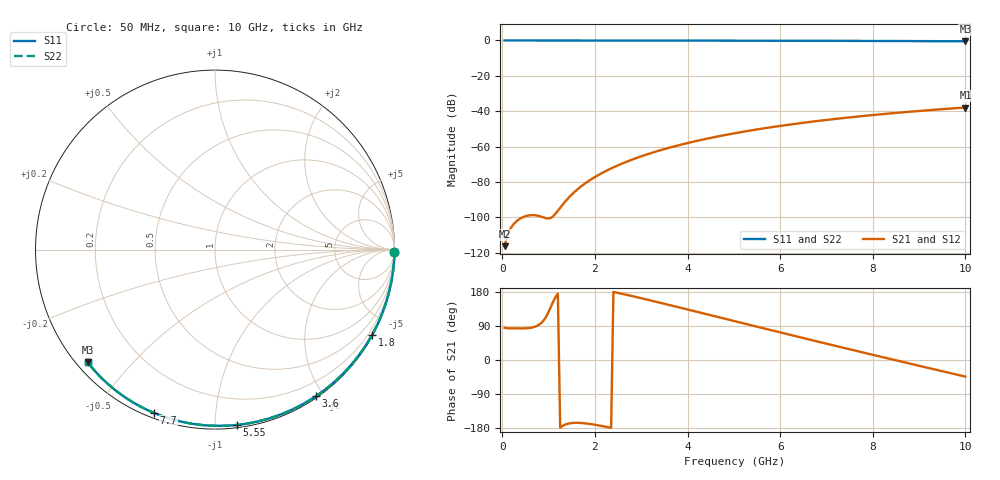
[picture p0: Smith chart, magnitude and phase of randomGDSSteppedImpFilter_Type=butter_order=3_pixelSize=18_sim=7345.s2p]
! freq	dB(S11)	phase(S11)	dB(S12)	phase(S12)
!  dB(S21)	phase(S21)	dB(S22)	phase(S22)
!S-par simulation data
#  GHz  S  DB  R 50
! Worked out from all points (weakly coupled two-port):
!   200 points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, 50 MHz to 10 GHz, reference 50 ohm
!   highest |S21| = -37.87 dB at 10 GHz (marker M1); lowest = -116.2 dB at 50 MHz (marker M2)
!   lowest |S11| = -0.5 dB at 10 GHz (marker M3), VSWR 37.03, Z = 1.54 - j18.9 ohm
!   |S11| at or under -10 dB: nowhere
!   |S22| runs from -0.5 to 0.0 dB; largest |S21 - S12| = 0
!   S11 on the Smith chart (normalised r, x): 50 MHz: open; 1.8 GHz: 0.03, -3.95; 3.6 GHz: 0.02, -1.90; 5.55 GHz: 0.02, -1.13; 7.7 GHz: 0.02, -0.69; 10 GHz: 0.03, -0.38
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0.05  -0.00 -0.8  -116.20 85.3  -116.20 85.3  -0.00 -0.8
0.45  -0.01 -7.2  -99.78 83.3  -99.78 83.3  -0.01 -7.2
0.9  -0.02 -14.3  -100.07 105.6  -100.07 105.6  -0.02 -14.3
1.75  -0.04 -27.6  -81.48 -166.7  -81.48 -166.7  -0.04 -27.6
1.8  -0.04 -28.4  -80.54 -167.4  -80.54 -167.4  -0.04 -28.4
1.85  -0.04 -29.2  -79.64 -168.1  -79.64 -168.1  -0.04 -29.2
2.05  -0.04 -32.3  -76.38 -171.9  -76.38 -171.9  -0.04 -32.3
2.25  -0.05 -35.3  -73.56 -176.5  -73.56 -176.5  -0.05 -35.3
2.55  -0.05 -39.9  -69.93 175.7  -69.93 175.7  -0.05 -39.9
2.95  -0.06 -45.9  -65.89 164.5  -65.89 164.5  -0.06 -45.9
3.4  -0.07 -52.6  -62.11 151.3  -62.11 151.3  -0.07 -52.6
3.6  -0.07 -55.5  -60.63 145.4  -60.63 145.4  -0.07 -55.5
3.9  -0.08 -59.8  -58.58 136.4  -58.58 136.4  -0.08 -59.8
4.3  -0.09 -65.6  -56.14 124.3  -56.14 124.3  -0.09 -65.5
5.05  -0.12 -76.0  -52.25 101.5  -52.25 101.5  -0.12 -76.0
5.55  -0.14 -82.8  -50.05 86.4  -50.05 86.4  -0.14 -82.8
6.1  -0.16 -90.1  -47.90 69.8  -47.90 69.8  -0.16 -90.1
6.7  -0.19 -97.9  -45.84 51.9  -45.84 51.9  -0.19 -97.9
7.7  -0.25 -110.5  -42.91 22.4  -42.91 22.4  -0.25 -110.5
8.35  -0.30 -118.6  -41.28 3.5  -41.28 3.5  -0.30 -118.6
9.2  -0.38 -128.9  -39.40 -21.0  -39.40 -21.0  -0.38 -128.9
10  -0.47 -138.6  -37.87 -43.9  -37.87 -43.9  -0.47 -138.6
